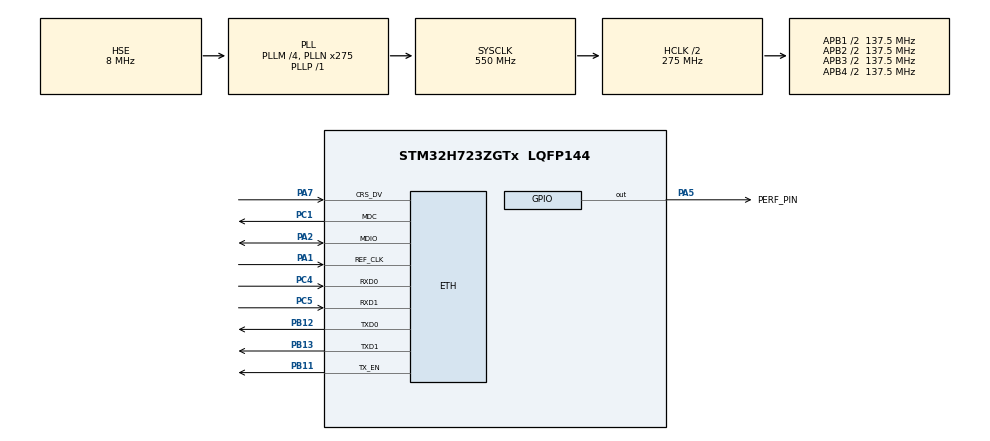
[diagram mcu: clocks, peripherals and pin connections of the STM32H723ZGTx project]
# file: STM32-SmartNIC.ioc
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CORTEX_M7.AccessPermission_S-Cortex_Memory_Protection_Unit_Region1_Settings_S=MPU_REGION_FULL_ACCESS
CORTEX_M7.BaseAddress_S-Cortex_Memory_Protection_Unit_Region1_Settings_S=0x30000000
CORTEX_M7.CPU_DCache=Enabled
CORTEX_M7.CPU_ICache=Enabled
CORTEX_M7.DisableExec_S-Cortex_Memory_Protection_Unit_Region1_Settings_S=MPU_INSTRUCTION_ACCESS_DISABLE
CORTEX_M7.Enable_S-Cortex_Memory_Protection_Unit_Region1_Settings_S=MPU_REGION_ENABLE
CORTEX_M7.Size_S-Cortex_Memory_Protection_Unit_Region1_Settings_S=MPU_REGION_SIZE_32KB
CORTEX_M7.TypeExtField_S-Cortex_Memory_Protection_Unit_Region1_Settings_S=MPU_TEX_LEVEL1
CORTEX_M7.default_mode_Activation=1
ETH.MediaInterface=HAL_ETH_RMII_MODE
Mcu.Family=STM32H7
Mcu.Name=STM32H723ZGTx
Mcu.Package=LQFP144
NUCLEO-H723ZG.BUTTON=1
NUCLEO-H723ZG.LD1=true
NUCLEO-H723ZG.LD2=true
NUCLEO-H723ZG.LD3=true
NUCLEO-H723ZG.VCP=true
NVIC.ETH_IRQn=true\:0\:0\:false\:false\:true\:true\:true\:true
NVIC.EXTI15_10_IRQn=true\:0\:0\:false\:false\:true\:false\:true\:true
NVIC.PriorityGroup=NVIC_PRIORITYGROUP_4
PA1.Mode=RMII
PA1.Signal=ETH_REF_CLK
PA13(JTMS/SWDIO).GPIO_Label=SWDIO
PA13(JTMS/SWDIO).Signal=DEBUG_JTMS-SWDIO
PA14(JTCK/SWCLK).GPIO_Label=SWCLK
PA14(JTCK/SWCLK).Signal=DEBUG_JTCK-SWCLK
PA2.Mode=RMII
PA2.Signal=ETH_MDIO
PA5.GPIO_Label=PERF_PIN
PA5.GPIO_Speed=GPIO_SPEED_FREQ_VERY_HIGH
PA5.Signal=GPIO_Output
PA7.Mode=RMII
PA7.Signal=ETH_CRS_DV
PB11.Mode=RMII
PB11.Signal=ETH_TX_EN
PB12.Mode=RMII
PB12.Signal=ETH_TXD0
PB13.Mode=RMII
PB13.Signal=ETH_TXD1
PC1.Mode=RMII
PC1.Signal=ETH_MDC
PC14-OSC32_IN.Signal=RCC_OSC32_IN
PC15-OSC32_OUT.Signal=RCC_OSC32_OUT
PC4.Mode=RMII
PC4.Signal=ETH_RXD0
PC5.Mode=RMII
PC5.Signal=ETH_RXD1
PD8.Signal=USART3_TX
PD9.Signal=USART3_RX
PH0-OSC_IN.Mode=HSE-External-Oscillator
PH0-OSC_IN.Signal=RCC_OSC_IN
PH1-OSC_OUT.Mode=HSE-External-Oscillator
PH1-OSC_OUT.Signal=RCC_OSC_OUT
ProjectManager.HeapSize=0x200
ProjectManager.StackSize=0x400
ProjectManager.TargetToolchain=STM32CubeIDE
RCC.ADCFreq_Value=76000000
RCC.APB1Freq_Value=137500000
RCC.APB2Freq_Value=137500000
RCC.APB3Freq_Value=137500000
RCC.APB4Freq_Value=137500000
RCC.CortexFreq_Value=550000000
RCC.D1PPRE=RCC_APB3_DIV2
RCC.D2PPRE1=RCC_APB1_DIV2
RCC.D2PPRE2=RCC_APB2_DIV2
RCC.D3PPRE=RCC_APB4_DIV2
RCC.DIVM1=4
RCC.DIVM2=1
RCC.DIVN1=275
RCC.DIVN2=19
RCC.DIVP1=1
RCC.DIVQ1=4
RCC.HCLKFreq_Value=275000000
RCC.HPRE=RCC_HCLK_DIV2
RCC.HSE_VALUE=8000000
RCC.PLLFRACN=0
RCC.PLLSourceVirtual=RCC_PLLSOURCE_HSE
RCC.PWR_Regulator_Voltage_Scale=PWR_REGULATOR_VOLTAGE_SCALE0
RCC.SYSCLKFreq_VALUE=550000000
RCC.SYSCLKSource=RCC_SYSCLKSOURCE_PLLCLK
RCC.USBCLockSelection=RCC_USBCLKSOURCE_HSI48
RCC.USBFreq_Value=48000000
VP_MEMORYMAP_VS_MEMORYMAP.Mode=CurAppReg
VP_NUCLEO-H723ZG_VS_BSP_COMMON.Mode=COMMON
board=NUCLEO-H723ZG

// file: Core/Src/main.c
/* USER CODE BEGIN Header */
/**
  ******************************************************************************
  * @file           : main.c
  * @brief          : Main program body
  ******************************************************************************
  * @attention
  *
  * Copyright (c) 2026 STMicroelectronics.
  * All rights reserved.
  *
  * This software is licensed under terms that can be found in the LICENSE file
  * in the root directory of this software component.
  * If no LICENSE file comes with this software, it is provided AS-IS.
  *
  ******************************************************************************
  */
/* USER CODE END Header */
#include "main.h"
#include "string.h"

/* USER CODE BEGIN Includes */
#include "ring_buffer_test.h"
#include "eth_rx.h"
#include "pkt_parse.h"
#include "pkt_filter.h"
#include "filter_policy.h"
#include "perf.h"
#include "uart_log.h"
/* USER CODE END Includes */

/* USER CODE BEGIN PD */
#define STATS_PERIOD_MS   (5000u)   /* how often the filter counters are printed */
#define BUTTON_DEBOUNCE_MS (200u)   /* ignore button bounces closer than this */
/* USER CODE END PD */

#if defined ( __ICCARM__ ) /*!< IAR Compiler */
#pragma location=0x30000000
ETH_DMADescTypeDef  DMARxDscrTab[ETH_RX_DESC_CNT]; /* Ethernet Rx DMA Descriptors */
#pragma location=0x30000080
ETH_DMADescTypeDef  DMATxDscrTab[ETH_TX_DESC_CNT]; /* Ethernet Tx DMA Descriptors */

#elif defined ( __CC_ARM )  /* MDK ARM Compiler */

__attribute__((at(0x30000000))) ETH_DMADescTypeDef  DMARxDscrTab[ETH_RX_DESC_CNT]; /* Ethernet Rx DMA Descriptors */
__attribute__((at(0x30000080))) ETH_DMADescTypeDef  DMATxDscrTab[ETH_TX_DESC_CNT]; /* Ethernet Tx DMA Descriptors */

#elif defined ( __GNUC__ ) /* GNU Compiler */

ETH_DMADescTypeDef DMARxDscrTab[ETH_RX_DESC_CNT] __attribute__((section(".RxDescripSection"))); /* Ethernet Rx DMA Descriptors */
ETH_DMADescTypeDef DMATxDscrTab[ETH_TX_DESC_CNT] __attribute__((section(".TxDescripSection")));   /* Ethernet Tx DMA Descriptors */
#endif

ETH_TxPacketConfig TxConfig;

COM_InitTypeDef BspCOMInit;

ETH_HandleTypeDef heth;

/* USER CODE BEGIN PV */
/* Rule table (filter_policy.c) + counters. Used only by the main loop. */
static pkt_filter_t filter;

/* Per-frame log switch. printf at 115200 costs ~7 ms per line, far more than
 * the filter itself, so it must be off when measuring. The USER button toggles
 * it at runtime; the stats line every STATS_PERIOD_MS is always printed.
 * The ISR only raises a flag; the main loop does the toggle and the printing. */
static volatile uint8_t button_pressed;   /* set by the button ISR, cleared by main */
static uint8_t log_frames = 1u;           /* 1 = print one line per frame (yellow LED on) */

/* CPU cycles spent in pkt_filter_process() per frame (parse + all filter
 * stages), collected over one stats period and printed with the stats. */
static perf_stats_t filter_cycles;

/* The same cost split by the path the frame took through the filter, since
 * boot (never reset), so each scenario's frame types can be told apart:
 *   path_reason[r]  dropped before any rule matched (malformed, bad-checksum,
 *                   spoofed, tcp-scan) or by the default action
 *   path_pass[i]    matched rule i and passed
 *   path_limit[i]   matched rule i and was dropped by its rate limit       */
static perf_stats_t path_reason[DROP_REASON_COUNT];
static perf_stats_t path_pass[POLICY_RULE_COUNT];
static perf_stats_t path_limit[POLICY_RULE_COUNT];
/* USER CODE END PV */

void SystemClock_Config(void);
static void MPU_Config(void);
static void MX_GPIO_Init(void);
static void MX_ETH_Init(void);
/* USER CODE BEGIN PFP */
static void log_frame(const pkt_desc_t *pkt, const pkt_hdr_t *hdr, pkt_verdict_t v);
static void print_stats(void);
static void handle_button(void);
static void record_path(pkt_verdict_t v, uint32_t cycles);
static void print_paths(void);
/* USER CODE END PFP */

int main(void)
{

  /* MPU Configuration--------------------------------------------------------*/
  MPU_Config();

  /* Enable the CPU Cache */

  /* Enable I-Cache---------------------------------------------------------*/
  SCB_EnableICache();

  /* Enable D-Cache---------------------------------------------------------*/
  SCB_EnableDCache();

  /* MCU Configuration--------------------------------------------------------*/

  /* Reset of all peripherals, Initializes the Flash interface and the Systick. */
  HAL_Init();

  /* Configure the system clock */
  SystemClock_Config();

  /* Initialize all configured peripherals */
  MX_GPIO_Init();
  MX_ETH_Init();

  /* Initialize leds */
  BSP_LED_Init(LED_GREEN);
  BSP_LED_Init(LED_YELLOW);
  BSP_LED_Init(LED_RED);

  /* Initialize USER push-button, will be used to trigger an interrupt each time it's pressed.*/
  BSP_PB_Init(BUTTON_USER, BUTTON_MODE_EXTI);

  /* Initialize COM1 port (115200, 8 bits (7-bit data + 1 stop bit), no parity */
  BspCOMInit.BaudRate   = 115200;
  BspCOMInit.WordLength = COM_WORDLENGTH_8B;
  BspCOMInit.StopBits   = COM_STOPBITS_1;
  BspCOMInit.Parity     = COM_PARITY_NONE;
  BspCOMInit.HwFlowCtl  = COM_HWCONTROL_NONE;
  if (BSP_COM_Init(COM1, &BspCOMInit) != BSP_ERROR_NONE)
  {
    Error_Handler();
  }

  /* Infinite loop */
  /* USER CODE BEGIN WHILE */
  /* From here printf only queues text; the USART3 interrupt sends it
   * (uart_log.c). COM1 (USART3) was just set up by BSP_COM_Init() above. */
  uart_log_init();

#ifdef RB_SELF_TEST
  BSP_LED_On((rb_self_test() == 0u) ? LED_GREEN : LED_RED);
#endif

  /* Start Ethernet RX. Done here (not in USER CODE 2) so the COM port is
   * already up and printf works. Order matters:
   * 1. eth_rx_init() fills the free list,
   * 2. HAL_ETH_Start_IT() takes 4 buffers for the descriptors (via
   *    HAL_ETH_RxAllocateCallback) and enables the ETH DMA interrupts. */
  if (!pkt_filter_init(&filter, filter_policy, POLICY_RULE_COUNT, POLICY_DEFAULT_ACTION))
  {
    printf("Invalid filter policy\r\n");
    Error_Handler();
  }

  /* Checksum offload: the MAC checks every IPv4 header and TCP/UDP checksum
   * in hardware and reports the result in the RX descriptor. The HAL default
   * (DropTCPIPChecksumErrorPacket = ENABLE) also DROPS the failing frames
   * inside the MAC, before the DMA, without any counter: the firmware never
   * learns they existed. Forward them instead; eth_rx.c passes the MAC's
   * report on with each frame and the filter drops and counts them as
   * "bad-checksum". The MAC config can only change before HAL_ETH_Start_IT(). */
  {
    ETH_MACConfigTypeDef mac_cfg;
    HAL_ETH_GetMACConfig(&heth, &mac_cfg);
    mac_cfg.DropTCPIPChecksumErrorPacket = DISABLE;
    if (HAL_ETH_SetMACConfig(&heth, &mac_cfg) != HAL_OK)
    {
      printf("ETH MAC config failed\r\n");
      Error_Handler();
    }
  }

  eth_rx_init();
  if (HAL_ETH_Start_IT(&heth) != HAL_OK)
  {
    printf("ETH start failed\r\n");
    Error_Handler();
  }
  printf("ETH RX started\r\n");
  /* Read back from the RCC registers: proves the PLL really runs (550 MHz). */
  printf("CPU clock: %lu MHz\r\n", (unsigned long)(HAL_RCC_GetSysClockFreq() / 1000000u));
  perf_init();
  perf_reset(&filter_cycles);
  for (uint32_t i = 0u; i < DROP_REASON_COUNT; i++)
  {
    perf_reset(&path_reason[i]);
  }
  for (uint32_t i = 0u; i < POLICY_RULE_COUNT; i++)
  {
    perf_reset(&path_pass[i]);
    perf_reset(&path_limit[i]);
  }
  printf("DWT cycle counter on, measurement overhead %lu cycles\r\n",
         (unsigned long)perf_overhead());
  printf("Per-frame log ON (USER button toggles)\r\n");
  BSP_LED_On(LED_YELLOW);

  while (1)
  {

    /* USER CODE END WHILE */

    /* USER CODE BEGIN 3 */
    static uint32_t last_stats_ms;
    pkt_desc_t pkt;
    pkt_hdr_t  hdr;

    /* Consumer side: take every frame the ISR queued, then give the buffer back. */
    while (eth_rx_pop(&pkt))
    {
      /* Parse, drop if malformed or the MAC reported a checksum error, else
       * run the rules. Counters are updated inside. HAL_GetTick() is read
       * before the timer starts so only the filter itself is measured. */
      uint32_t now_ms = HAL_GetTick();
      uint32_t t0 = perf_now();
      /* PERF_PIN (PA5, D13) is HIGH while the filter runs: a logic analyzer
       * measures the pulse width from outside, to cross-check the DWT number.
       * BSRR is written directly (one store, set = low 16 bits, reset = high
       * 16 bits) instead of HAL_GPIO_WritePin(), so the pin edges add almost
       * nothing to what is measured. */
      PERF_PIN_GPIO_Port->BSRR = PERF_PIN_Pin;
      pkt_verdict_t v = pkt_filter_process(&filter, pkt.data, pkt.len, pkt.flags,
                                           now_ms, &hdr);
      PERF_PIN_GPIO_Port->BSRR = (uint32_t)PERF_PIN_Pin << 16;
      uint32_t cycles = perf_now() - t0;
      perf_record(&filter_cycles, cycles);
      record_path(v, cycles);

      if (log_frames != 0u)
      {
        log_frame(&pkt, &hdr, v);
      }

      /* Always give the buffer back, even for a dropped frame, or the pool leaks. */
      eth_rx_buf_free(pkt.data);
    }

    /* Buffers were just freed: hand them to any RX descriptor left without
     * one, and wake the DMA if it stopped (see eth_rx_refill()). */
    eth_rx_refill();

    handle_button();
    eth_rx_poll_hw();   /* collect the MAC's clear-on-read drop counters */

    /* Unsigned subtraction stays correct when HAL_GetTick() wraps at 2^32. */
    if ((HAL_GetTick() - last_stats_ms) >= STATS_PERIOD_MS)
    {
      last_stats_ms = HAL_GetTick();
      print_stats();
    }
  }
  /* USER CODE END 3 */
}

void SystemClock_Config(void)
{
  RCC_OscInitTypeDef RCC_OscInitStruct = {0};
  RCC_ClkInitTypeDef RCC_ClkInitStruct = {0};

  /** Supply configuration update enable
  */
  HAL_PWREx_ConfigSupply(PWR_LDO_SUPPLY);

  /** Configure the main internal regulator output voltage
  */
  __HAL_PWR_VOLTAGESCALING_CONFIG(PWR_REGULATOR_VOLTAGE_SCALE0);

  while(!__HAL_PWR_GET_FLAG(PWR_FLAG_VOSRDY)) {}

  /** Initializes the RCC Oscillators according to the specified parameters
  * in the RCC_OscInitTypeDef structure.
  */
  RCC_OscInitStruct.OscillatorType = RCC_OSCILLATORTYPE_HSE;
  RCC_OscInitStruct.HSEState = RCC_HSE_ON;
  RCC_OscInitStruct.PLL.PLLState = RCC_PLL_ON;
  RCC_OscInitStruct.PLL.PLLSource = RCC_PLLSOURCE_HSE;
  RCC_OscInitStruct.PLL.PLLM = 4;
  RCC_OscInitStruct.PLL.PLLN = 275;
  RCC_OscInitStruct.PLL.PLLP = 1;
  RCC_OscInitStruct.PLL.PLLQ = 4;
  RCC_OscInitStruct.PLL.PLLR = 2;
  RCC_OscInitStruct.PLL.PLLRGE = RCC_PLL1VCIRANGE_1;
  RCC_OscInitStruct.PLL.PLLVCOSEL = RCC_PLL1VCOWIDE;
  RCC_OscInitStruct.PLL.PLLFRACN = 0;
  if (HAL_RCC_OscConfig(&RCC_OscInitStruct) != HAL_OK)
  {
    Error_Handler();
  }

  /** Initializes the CPU, AHB and APB buses clocks
  */
  RCC_ClkInitStruct.ClockType = RCC_CLOCKTYPE_HCLK|RCC_CLOCKTYPE_SYSCLK
                              |RCC_CLOCKTYPE_PCLK1|RCC_CLOCKTYPE_PCLK2
                              |RCC_CLOCKTYPE_D3PCLK1|RCC_CLOCKTYPE_D1PCLK1;
  RCC_ClkInitStruct.SYSCLKSource = RCC_SYSCLKSOURCE_PLLCLK;
  RCC_ClkInitStruct.SYSCLKDivider = RCC_SYSCLK_DIV1;
  RCC_ClkInitStruct.AHBCLKDivider = RCC_HCLK_DIV2;
  RCC_ClkInitStruct.APB3CLKDivider = RCC_APB3_DIV2;
  RCC_ClkInitStruct.APB1CLKDivider = RCC_APB1_DIV2;
  RCC_ClkInitStruct.APB2CLKDivider = RCC_APB2_DIV2;
  RCC_ClkInitStruct.APB4CLKDivider = RCC_APB4_DIV2;

  if (HAL_RCC_ClockConfig(&RCC_ClkInitStruct, FLASH_LATENCY_3) != HAL_OK)
  {
    Error_Handler();
  }
}

static void MX_ETH_Init(void)
{

   static uint8_t MACAddr[6];

  heth.Instance = ETH;
  MACAddr[0] = 0x00;
  MACAddr[1] = 0x80;
  MACAddr[2] = 0xE1;
  MACAddr[3] = 0x00;
  MACAddr[4] = 0x00;
  MACAddr[5] = 0x00;
  heth.Init.MACAddr = &MACAddr[0];
  heth.Init.MediaInterface = HAL_ETH_RMII_MODE;
  heth.Init.TxDesc = DMATxDscrTab;
  heth.Init.RxDesc = DMARxDscrTab;
  heth.Init.RxBuffLen = 1536;

  if (HAL_ETH_Init(&heth) != HAL_OK)
  {
    Error_Handler();
  }

  memset(&TxConfig, 0 , sizeof(ETH_TxPacketConfig));
  TxConfig.Attributes = ETH_TX_PACKETS_FEATURES_CSUM | ETH_TX_PACKETS_FEATURES_CRCPAD;
  TxConfig.ChecksumCtrl = ETH_CHECKSUM_IPHDR_PAYLOAD_INSERT_PHDR_CALC;
  TxConfig.CRCPadCtrl = ETH_CRC_PAD_INSERT;

}

static void MX_GPIO_Init(void)
{
  GPIO_InitTypeDef GPIO_InitStruct = {0};

  /* GPIO Ports Clock Enable */
  __HAL_RCC_GPIOC_CLK_ENABLE();
  __HAL_RCC_GPIOH_CLK_ENABLE();
  __HAL_RCC_GPIOA_CLK_ENABLE();
  __HAL_RCC_GPIOB_CLK_ENABLE();

  /*Configure GPIO pin Output Level */
  HAL_GPIO_WritePin(PERF_PIN_GPIO_Port, PERF_PIN_Pin, GPIO_PIN_RESET);

  /*Configure GPIO pin : PERF_PIN_Pin */
  GPIO_InitStruct.Pin = PERF_PIN_Pin;
  GPIO_InitStruct.Mode = GPIO_MODE_OUTPUT_PP;
  GPIO_InitStruct.Pull = GPIO_NOPULL;
  GPIO_InitStruct.Speed = GPIO_SPEED_FREQ_VERY_HIGH;
  HAL_GPIO_Init(PERF_PIN_GPIO_Port, &GPIO_InitStruct);

}

/* USER CODE BEGIN 4 */
/** USER button ISR (overrides the weak BSP version). Keep it tiny: just a flag. */
void BSP_PB_Callback(Button_TypeDef Button)
{
  if (Button == BUTTON_USER)
  {
    button_pressed = 1u;
  }
}

/** Main-loop side of the button: debounce, flip the log switch, report it. */
static void handle_button(void)
{
  static uint32_t last_press_ms;

  if (button_pressed == 0u)
  {
    return;
  }
  button_pressed = 0u;

  /* A mechanical button bounces: one press can fire several interrupts. */
  if ((HAL_GetTick() - last_press_ms) < BUTTON_DEBOUNCE_MS)
  {
    return;
  }
  last_press_ms = HAL_GetTick();

  log_frames ^= 1u;
  if (log_frames != 0u)
  {
    BSP_LED_On(LED_YELLOW);
  }
  else
  {
    BSP_LED_Off(LED_YELLOW);
  }
  printf("Per-frame log %s\r\n", (log_frames != 0u) ? "ON" : "OFF");
}

/** Print one line per frame: what it is and what the filter decided. */
static void log_frame(const pkt_desc_t *pkt, const pkt_hdr_t *hdr, pkt_verdict_t v)
{
  printf("RX %4u  ", (unsigned)pkt->len);

  if ((hdr->valid & PKT_HAS_IPV4) != 0u)
  {
    printf("IPv4 %u.%u.%u.%u -> %u.%u.%u.%u p%u",
           (unsigned)(hdr->src_ip >> 24), (unsigned)((hdr->src_ip >> 16) & 0xFFu),
           (unsigned)((hdr->src_ip >> 8) & 0xFFu), (unsigned)(hdr->src_ip & 0xFFu),
           (unsigned)(hdr->dst_ip >> 24), (unsigned)((hdr->dst_ip >> 16) & 0xFFu),
           (unsigned)((hdr->dst_ip >> 8) & 0xFFu), (unsigned)(hdr->dst_ip & 0xFFu),
           (unsigned)hdr->ip_proto);

    if ((hdr->valid & PKT_HAS_L4) != 0u)
    {
      printf(" %u->%u", (unsigned)hdr->src_port, (unsigned)hdr->dst_port);

      if (hdr->ip_proto == IP_PROTO_TCP)
      {
        printf(" flags 0x%02X", (unsigned)hdr->tcp_flags);
      }
    }
  }
  else if ((hdr->valid & PKT_HAS_ETH) != 0u)
  {
    printf("type 0x%04X", (unsigned)hdr->ethertype);
  }
  else
  {
    printf("too short");
  }

  /* The MAC's checksum offload report (eth_rx.c), if it found an error. */
  if ((pkt->flags & PKT_FLAG_IP_HDR_ERR) != 0u)
  {
    printf("  [hw: ip-hdr]");
  }
  if ((pkt->flags & PKT_FLAG_IP_PAYLOAD_ERR) != 0u)
  {
    printf("  [hw: payload]");
  }

  const char *verdict = (v.action == PKT_PASS) ? "PASS" : "DROP";

  if (v.rule_idx >= 0)
  {
    /* A rate-limit drop also has a rule: say which rule and why. */
    printf("  => %s (%s%s)\r\n", verdict, filter_policy_rule_name(v.rule_idx),
           (v.reason == DROP_REASON_RATE_LIMIT) ? ", rate-limit" : "");
  }
  else if (v.action == PKT_PASS)
  {
    printf("  => %s (default)\r\n", verdict);
  }
  else
  {
    /* malformed, bad-checksum, spoofed, tcp-scan or default */
    printf("  => %s (%s)\r\n", verdict, pkt_drop_reason_name(v.reason));
  }
}

/** Print the filter counters: totals, drops per reason, hits per rule. */
static void print_stats(void)
{
  printf("--- passed %lu | dropped:", (unsigned long)filter.passed);

  for (uint32_t r = DROP_REASON_NONE + 1u; r < DROP_REASON_COUNT; r++)
  {
    printf(" %s %lu", pkt_drop_reason_name((pkt_drop_reason_t)r), (unsigned long)filter.dropped[r]);
  }

  printf(" | hits:");
  for (uint32_t i = 0u; i < filter.rule_count; i++)
  {
    printf(" %s:%lu", filter_policy_rule_name((int32_t)i), (unsigned long)filter.rule_hits[i]);
  }

  printf(" default:%lu ---\r\n", (unsigned long)filter.default_hits);

  /* Hardware view: frames the MAC took off the wire vs. frames the filter
   * saw. MAC counts unicast only, so broadcasts (DHCP) appear only in "seen". */
  eth_rx_stats_t hw;
  eth_rx_get_stats(&hw);
  uint32_t seen = filter.passed;
  for (uint32_t r = 0u; r < DROP_REASON_COUNT; r++)
  {
    seen += filter.dropped[r];
  }
  printf("--- hw: mac rx unicast %lu | filter saw %lu | fifo-overflow %lu"
         " dma-missed %lu | rbu %lu refills %lu | free bufs %lu/%u"
         " (low: period %lu, ever %lu, empty %lu) | log-drop %lu ---\r\n",
         (unsigned long)hw.mac_rx_good, (unsigned long)seen,
         (unsigned long)hw.fifo_overflow, (unsigned long)hw.dma_missed,
         (unsigned long)hw.rbu_events, (unsigned long)hw.refills,
         (unsigned long)hw.free_bufs,
         (unsigned)ETH_RX_BUF_COUNT, (unsigned long)eth_rx_take_period_low(),
         (unsigned long)hw.free_low, (unsigned long)hw.pool_empty,
         (unsigned long)uart_log_dropped());

  /* Filter cost per frame over the last period, then start a new period. */
  if (filter_cycles.count == 0u)
  {
    printf("--- filter cycles: no frames ---\r\n");
  }
  else
  {
    uint32_t avg = (uint32_t)(filter_cycles.sum / filter_cycles.count);
    printf("--- filter cycles/frame (%lu frames): min %lu avg %lu max %lu"
           " = avg %lu ns ---\r\n",
           (unsigned long)filter_cycles.count, (unsigned long)filter_cycles.min,
           (unsigned long)avg, (unsigned long)filter_cycles.max,
           (unsigned long)perf_cycles_to_ns(avg));
    print_paths();   /* only when something new arrived, to keep the log short */
  }
  perf_reset(&filter_cycles);
}

/** Add one frame's cost to the stats of the path it took. */
static void record_path(pkt_verdict_t v, uint32_t cycles)
{
  if ((v.rule_idx >= 0) && (v.rule_idx < (int32_t)POLICY_RULE_COUNT))
  {
    perf_record((v.reason == DROP_REASON_RATE_LIMIT) ? &path_limit[v.rule_idx]
                                                     : &path_pass[v.rule_idx],
                cycles);
  }
  else if ((uint32_t)v.reason < DROP_REASON_COUNT)
  {
    perf_record(&path_reason[v.reason], cycles);
  }
}

static void print_one_path(const char *name, const char *suffix, const perf_stats_t *s)
{
  if (s->count == 0u)
  {
    return;
  }
  uint32_t avg = (uint32_t)(s->sum / s->count);
  printf("    path %-12s%-12s n=%-5lu min %5lu avg %5lu max %5lu cycles = avg %5lu ns\r\n",
         name, suffix, (unsigned long)s->count, (unsigned long)s->min,
         (unsigned long)avg, (unsigned long)s->max,
         (unsigned long)perf_cycles_to_ns(avg));
}

/** Cycles per frame for every path seen since boot. */
static void print_paths(void)
{
  printf("--- cycles by path (since boot) ---\r\n");
  for (uint32_t r = 0u; r < DROP_REASON_COUNT; r++)
  {
    print_one_path((r == DROP_REASON_NONE) ? "pass" : pkt_drop_reason_name((pkt_drop_reason_t)r),
                   "", &path_reason[r]);
  }
  for (uint32_t i = 0u; i < POLICY_RULE_COUNT; i++)
  {
    print_one_path(filter_policy_rule_name((int32_t)i), "pass", &path_pass[i]);
    print_one_path(filter_policy_rule_name((int32_t)i), "rate-limit", &path_limit[i]);
  }
}
/* USER CODE END 4 */

 /* MPU Configuration */

void MPU_Config(void)
{
  MPU_Region_InitTypeDef MPU_InitStruct = {0};

  /* Disables the MPU */
  HAL_MPU_Disable();

  /** Initializes and configures the Region and the memory to be protected
  */
  MPU_InitStruct.Enable = MPU_REGION_ENABLE;
  MPU_InitStruct.Number = MPU_REGION_NUMBER0;
  MPU_InitStruct.BaseAddress = 0x0;
  MPU_InitStruct.Size = MPU_REGION_SIZE_4GB;
  MPU_InitStruct.SubRegionDisable = 0x87;
  MPU_InitStruct.TypeExtField = MPU_TEX_LEVEL0;
  MPU_InitStruct.AccessPermission = MPU_REGION_NO_ACCESS;
  MPU_InitStruct.DisableExec = MPU_INSTRUCTION_ACCESS_DISABLE;
  MPU_InitStruct.IsShareable = MPU_ACCESS_SHAREABLE;
  MPU_InitStruct.IsCacheable = MPU_ACCESS_NOT_CACHEABLE;
  MPU_InitStruct.IsBufferable = MPU_ACCESS_NOT_BUFFERABLE;

  HAL_MPU_ConfigRegion(&MPU_InitStruct);

  /** Initializes and configures the Region and the memory to be protected
  */
  MPU_InitStruct.Number = MPU_REGION_NUMBER1;
  MPU_InitStruct.BaseAddress = 0x30000000;
  MPU_InitStruct.Size = MPU_REGION_SIZE_32KB;
  MPU_InitStruct.SubRegionDisable = 0x0;
  MPU_InitStruct.TypeExtField = MPU_TEX_LEVEL1;
  MPU_InitStruct.AccessPermission = MPU_REGION_FULL_ACCESS;
  MPU_InitStruct.IsShareable = MPU_ACCESS_NOT_SHAREABLE;

  HAL_MPU_ConfigRegion(&MPU_InitStruct);
  /* Enables the MPU */
  HAL_MPU_Enable(MPU_PRIVILEGED_DEFAULT);

}

void Error_Handler(void)
{
  __disable_irq();
  while (1)
  {
  }
}
